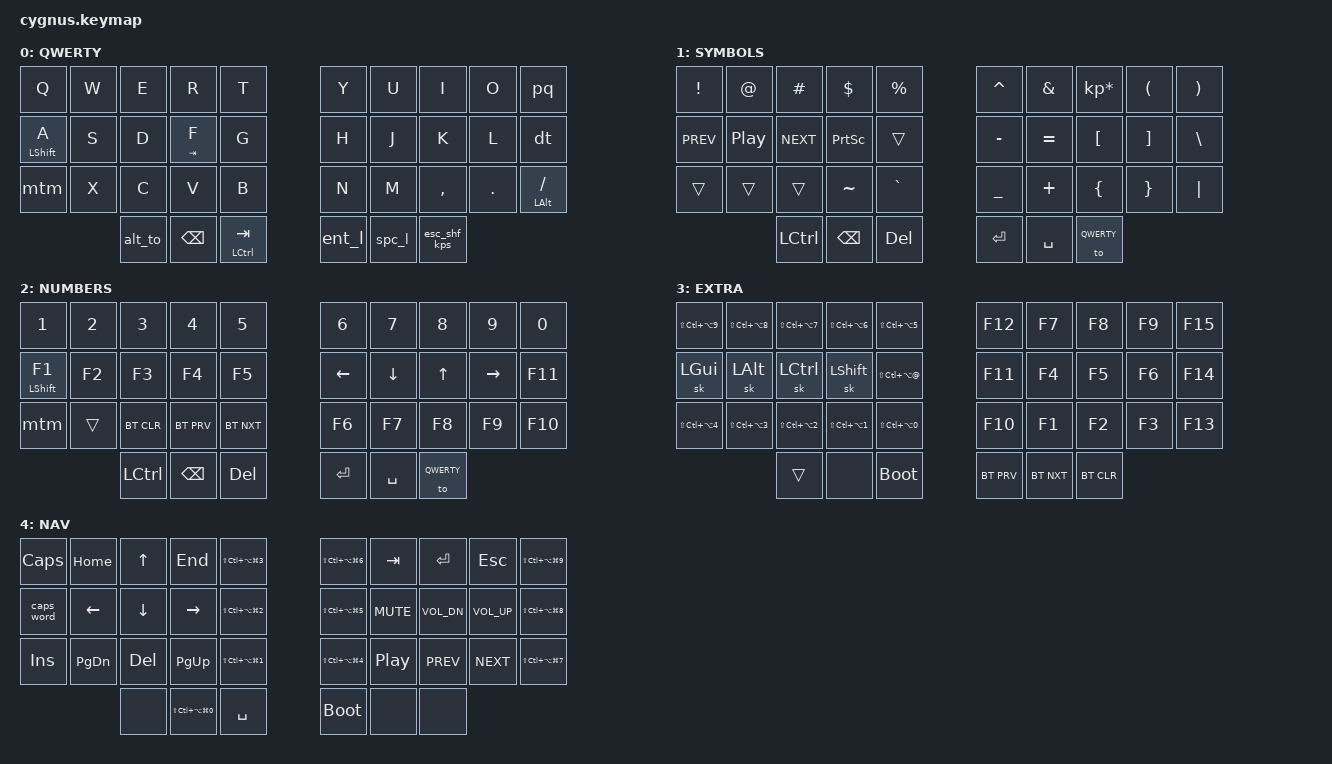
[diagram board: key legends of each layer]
/*
*
* Copyright (c) 2024 Rafael Romão
* SPDX-License-Identifier: MIT
*
*/

#include <behaviors.dtsi>
#include <dt-bindings/zmk/keys.h>
#include <dt-bindings/zmk/bt.h>

#define QWERTY 0
#define SYMBOLS 1
#define NUMBERS 2
#define EXTRA 3
#define NAV 4

/ {
    behaviors {
        dt: double_tap {
            compatible = "zmk,behavior-tap-dance";
            #binding-cells = <0>;
            tapping-term-ms = <180>;
            bindings = <&kp SEMI>, <&kp COLON>;
        };

        mk: mk {
            compatible = "zmk,behavior-hold-tap";
            #binding-cells = <2>;
            tapping-term-ms = <200>;
            flavor = "tap-preferred";
            bindings = <&mo>, <&sk>;
        };

        ht_repeat: ht_repeat {
            compatible = "zmk,behavior-hold-tap";
            #binding-cells = <2>;
            tapping-term-ms = <200>;
            flavor = "tap-preferred";
            bindings = <&mo>, <&key_repeat>;
        };

        sqt_space: sqt_space {
            compatible = "zmk,behavior-macro";
            #binding-cells = <0>;
            bindings = <&macro_tap &kp SQT &kp SPACE>;
        };

        dqt_space: dqt_space {
            compatible = "zmk,behavior-macro";
            #binding-cells = <0>;
            bindings = <&macro_tap &kp DQT &kp SPACE>;
        };

        grv_space: grv_space {
            compatible = "zmk,behavior-macro";
            #binding-cells = <0>;
            bindings = <&macro_tap &kp GRAVE &kp SPACE>;
        };

        tilde_space: tilde_space {
            compatible = "zmk,behavior-macro";
            #binding-cells = <0>;
            bindings = <&macro_tap &kp TILDE &kp SPACE>;
        };

        caret_space: caret_space {
            compatible = "zmk,behavior-macro";
            #binding-cells = <0>;
            bindings = <&macro_tap &kp CARET &kp SPACE>;
        };

        ccedil: ccedil {
            compatible = "zmk,behavior-macro";
            #binding-cells = <0>;
            bindings = <&macro_tap &kp SQT &kp C>;
        };

        esc_shf_kps: esc_shift_caps_tap_dance {
            compatible = "zmk,behavior-tap-dance";
            #binding-cells = <0>;
            tapping-term-ms = <200>;
            bindings = <&mt LSHIFT ESC>, <&kp CAPSLOCK>;
        };

        alt_to: alt_or_to_layer {
            compatible = "zmk,behavior-tap-dance";
            #binding-cells = <0>;
            tapping-term-ms = <200>;
            bindings = <&mo NUMBERS>, <&kt LALT>, <&to NUMBERS>;
        };
        spc_l: space_or_layer {
            compatible = "zmk,behavior-tap-dance";
            #binding-cells = <0>;
            tapping-term-ms = <190>;
            bindings = <&kp SPACE>, <&mo SYMBOLS>;
        };
        ent_l: enter_or_layer {
            compatible = "zmk,behavior-tap-dance";
            #binding-cells = <0>;
            tapping-term-ms = <190>;
            bindings = <&kp ENTER>, <&mo SYMBOLS>, <&to SYMBOLS>;
        };

        pq: p_or_quotes {
            compatible = "zmk,behavior-tap-dance";
            #binding-cells = <0>;
            tapping-term-ms = <200>;
            bindings = <&kp P>, <&kp SQT>, <&kp DQT>;
        };
        mtr: mod_tap_reimpl {
            compatible = "zmk,behavior-hold-tap";
            label = "MOD_TAP_BY_HOLD_TAP";
            #binding-cells = <2>;
            tapping-term-ms = <200>;
            quick-tap-ms = <0>;
            flavor = "tap-preferred";
            bindings = <&kp>, <&kp>;
        };
        mtm: mod_tap_toogle_mod {
            compatible = "zmk,behavior-tap-dance";
            #binding-cells = <0>;
            tapping-term-ms = <200>;
            bindings = <&mtr LGUI Z>, <&kt LGUI>;
        };
    };

    keymap {
        compatible = "zmk,keymap";

                qwerty_layer {
                     display-name = "QWERTY";
                     bindings = <
   &kp Q               &kp W               &kp E               &kp R               &kp T               &kp Y               &kp U               &kp I               &kp O               &pq
   &mtr LSHFT A        &kp S               &kp D               &mtr TAB F          &kp G               &kp H               &kp J               &kp K               &kp L               &dt
   &mtm                &kp X               &kp C               &kp V               &kp B               &kp N               &kp M               &kp COMMA           &kp DOT             &mtr LALT FSLH
                                           &alt_to          &kp BSPC            &mtr LCTRL TAB               &ent_l              &spc_l        &esc_shf_kps
                        >;
                };
                symbols_layer {
                     display-name = "SYMBOLS";
                     bindings = <
   &kp EXCL     &kp AT      &kp HASH     &kp DLLR   &kp PRCNT                &kp CARET  &kp AMPS    &kp KP_MULTIPLY  &kp LPAR   &kp RPAR
   &kp C_PREV   &kp C_PP    &kp C_NEXT   &kp PSCRN  &trans                   &kp MINUS  &kp EQUAL   &kp LBKT         &kp RBKT   &kp BSLH
   &trans       &trans      &trans       &kp TILDE  &kp GRAVE                &kp UNDER  &kp PLUS    &kp LBRC         &kp RBRC   &kp PIPE
                        &kp LCTRL        &kp BSPC   &kp DEL                  &kp RET    &kp SPACE   &to QWERTY
                        >;
                };
                numbers_layer {
                    display-name = "NUMBERS";
                    bindings = <
   &kp N1            &kp N2      &kp N3      &kp N4      &kp N5                     &kp N6    &kp N7      &kp N8      &kp N9      &kp N0
   &mtr LSHFT F1     &kp F2      &kp F3      &kp F4      &kp F5                     &kp LEFT  &kp DOWN    &kp UP      &kp RIGHT   &kp F11
   &mtm             &trans       &bt BT_CLR  &bt BT_PRV  &bt BT_NXT                 &kp F6    &kp F7      &kp F8      &kp F9      &kp F10
                            &kp LCTRL   &kp BSPC    &kp DEL                    &kp RET   &kp SPACE   &to QWERTY
                        >;
               };
                extra_layer {
                     display-name = "EXTRA";
                     bindings = <
   &kp LS(LC(LA(N9)))  &kp LS(LC(LA(N8)))  &kp LS(LC(LA(N7)))  &kp LS(LC(LA(N6)))  &kp LS(LC(LA(N5)))  &kp F12             &kp F7              &kp F8              &kp F9              &kp F15
   &sk LGUI            &sk LALT            &sk LCTRL           &sk LSHFT           &kp LS(LC(LA(AT)))  &kp F11             &kp F4              &kp F5              &kp F6              &kp F14
   &kp LS(LC(LA(N4)))  &kp LS(LC(LA(N3)))  &kp LS(LC(LA(N2)))  &kp LS(LC(LA(N1)))  &kp LS(LC(LA(N0)))  &kp F10             &kp F1              &kp F2              &kp F3              &kp F13
                                           &trans      &none               &bootloader         &bt BT_PRV          &bt BT_NXT          &bt BT_CLR
                        >;
                };
                navigation_layer {
                    display-name = "NAV";
                    bindings = <
   &kp CAPSLOCK        &kp HOME            &kp UP              &kp END             &kp LS(LC(LA(LG(N3)))) &kp LS(LC(LA(LG(N6)))) &kp TAB             &kp ENTER           &kp ESC             &kp LS(LC(LA(LG(N9))))
   &caps_word          &kp LEFT            &kp DOWN            &kp RIGHT           &kp LS(LC(LA(LG(N2)))) &kp LS(LC(LA(LG(N5)))) &kp C_MUTE          &kp C_VOL_DN        &kp C_VOL_UP        &kp LS(LC(LA(LG(N8))))
   &kp INS             &kp PG_DN           &kp DEL             &kp PG_UP           &kp LS(LC(LA(LG(N1)))) &kp LS(LC(LA(LG(N4)))) &kp C_PP            &kp C_PREV          &kp C_NEXT          &kp LS(LC(LA(LG(N7))))
                                           &none               &kp LS(LC(LA(LG(N0)))) &kp SPACE           &bootloader            &none               &none
                           >;
                };
                layer5 {
                    status = "reserved";
                };

                layer6 {
                    status = "reserved";
                };

                layer7 {
                    status = "reserved";
                };

                layer8 {
                    status = "reserved";
                };

                layer9 {
                    status = "reserved";
                };

                layer10 {
                    status = "reserved";
                };
    };
};
